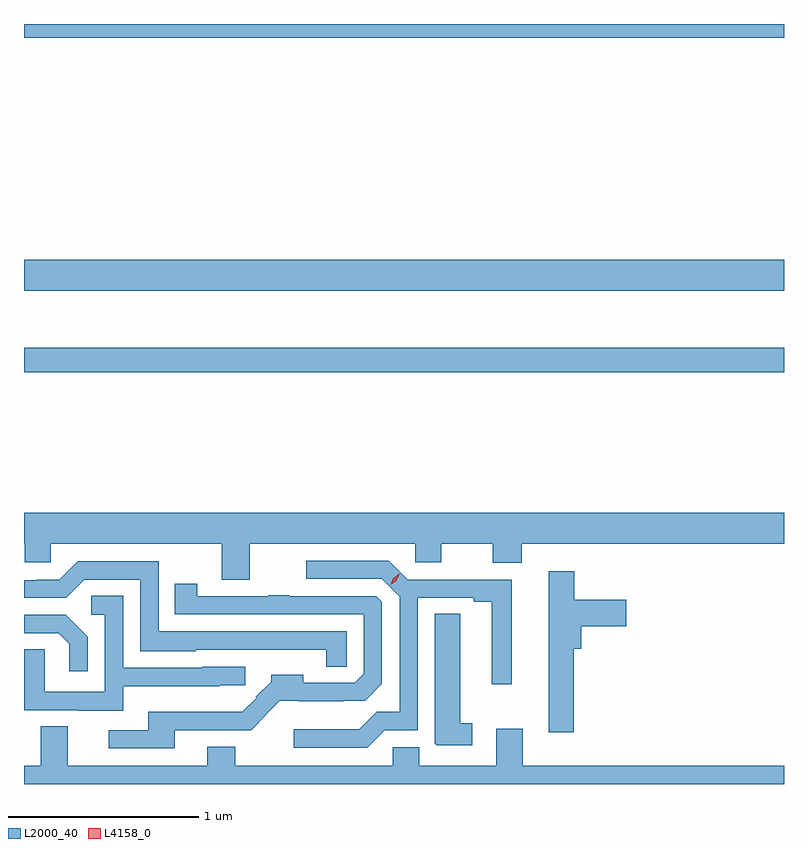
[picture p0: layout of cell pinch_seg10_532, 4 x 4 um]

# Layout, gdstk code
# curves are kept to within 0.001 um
import gdstk
lib = gdstk.Library(unit=1e-6, precision=1e-09)
def R(c, l, rs):  # rectangles x0, y0, x1, y1
    for r in rs: c.add(gdstk.rectangle(r[:2], r[2:], *l))
def P(c, l, *ps):  # polygons
    for p in ps: c.add(gdstk.Polygon(p, *l))
L2000_40 = (2000, 40)
L4158_0 = (4158, 0)

pinch_seg10_532 = lib.new_cell('pinch_seg10_532')
R(pinch_seg10_532, L2000_40, [(337.5,1269.25,341.5,1269.379), (337.5,1269.68,341.5,1269.844), (337.5,1271.012,341.5,1271.084)])
P(pinch_seg10_532, L2000_40, [(337.5,1268.348),(337.503,1268.348),(337.503,1268.25),(337.641,1268.25),(337.641,1268.348),(338.542,1268.348),(338.542,1268.158),(338.689,1268.158),(338.689,1268.348),(339.558,1268.348),(339.558,1268.25),(339.697,1268.25),(339.697,1268.348),(339.968,1268.348),(339.968,1268.249),(340.121,1268.249),(340.121,1268.348),(341.5,1268.348),(341.5,1268.512),(337.5,1268.512)],
  [(339.399,1267.368),(339.573,1267.368),(339.573,1268.064),(339.866,1268.064),(339.866,1268.044),(339.962,1268.044),(339.962,1267.608),(340.066,1267.608),(340.066,1268.16),(339.52,1268.16),(339.421,1268.259),(338.985,1268.259),(338.985,1268.163),(339.384,1268.163),(339.477,1268.07),(339.477,1267.463),(339.356,1267.463),(339.265,1267.372),(338.919,1267.372),(338.919,1267.275),(339.306,1267.275)],
  [(339.198,1267.887),(338.208,1267.887),(338.208,1268.256),(337.782,1268.256),(337.686,1268.16),(337.566,1268.16),(337.566,1268.157),(337.5,1268.157),(337.5,1268.064),(337.722,1268.064),(337.818,1268.16),(338.112,1268.16),(338.112,1267.784),(338.403,1267.784),(338.403,1267.791),(339.09,1267.79),(339.09,1267.702),(339.198,1267.702)],
  [(340.394,1267.796),(340.433,1267.796),(340.433,1267.913),(340.669,1267.913),(340.669,1268.055),(340.397,1268.055),(340.397,1268.203),(340.262,1268.203),(340.262,1267.356),(340.394,1267.356)],
  [(338.293,1267.368),(338.697,1267.368),(338.773,1267.445),(338.771,1267.447),(338.845,1267.521),(339.179,1267.52),(339.179,1267.522),(339.295,1267.522),(339.384,1267.611),(339.384,1268.043),(339.354,1268.073),(338.897,1268.073),(338.897,1268.078),(338.785,1268.078),(338.785,1268.073),(338.412,1268.073),(338.412,1268.137),(338.293,1268.137),(338.293,1267.977),(339.288,1267.977),(339.288,1267.665),(339.24,1267.617),(338.971,1267.617),(338.971,1267.66),(338.8,1267.66),(338.8,1267.621),(338.721,1267.542),(338.724,1267.539),(338.648,1267.463),(338.546,1267.463),(338.546,1267.465),(338.153,1267.465),(338.153,1267.368),(337.947,1267.368),(337.947,1267.272),(338.293,1267.272)],
  [(338.023,1267.598),(338.529,1267.598),(338.529,1267.605),(338.664,1267.605),(338.664,1267.701),(338.439,1267.701),(338.439,1267.695),(338.022,1267.695),(338.022,1268.075),(337.854,1268.075),(337.854,1267.974),(337.926,1267.974),(337.926,1267.569),(337.608,1267.569),(337.608,1267.793),(337.5,1267.793),(337.5,1267.473),(337.787,1267.473),(337.787,1267.469),(338.023,1267.469)],
  [(339.859,1267.403),(339.796,1267.403),(339.796,1267.979),(339.662,1267.979),(339.662,1267.297),(339.672,1267.287),(339.859,1267.287)],
  [(337.836,1267.858),(337.72,1267.974),(337.5,1267.974),(337.5,1267.878),(337.682,1267.878),(337.739,1267.821),(337.739,1267.677),(337.836,1267.677)],
  [(341.5,1267.18),(340.126,1267.18),(340.126,1267.375),(339.986,1267.375),(339.986,1267.18),(339.58,1267.18),(339.58,1267.278),(339.441,1267.278),(339.441,1267.18),(338.613,1267.18),(338.613,1267.279),(338.465,1267.279),(338.465,1267.18),(337.729,1267.18),(337.729,1267.388),(337.589,1267.388),(337.589,1267.18),(337.5,1267.18),(337.5,1267.084),(341.5,1267.084)])
P(pinch_seg10_532, L4158_0, [(339.429,1268.134),(339.429,1268.134),(339.444,1268.168),(339.475,1268.19),(339.475,1268.19),(339.475,1268.189),(339.46,1268.155),(339.43,1268.134)])

lib.write_gds('pinch_seg10_532.gds')
